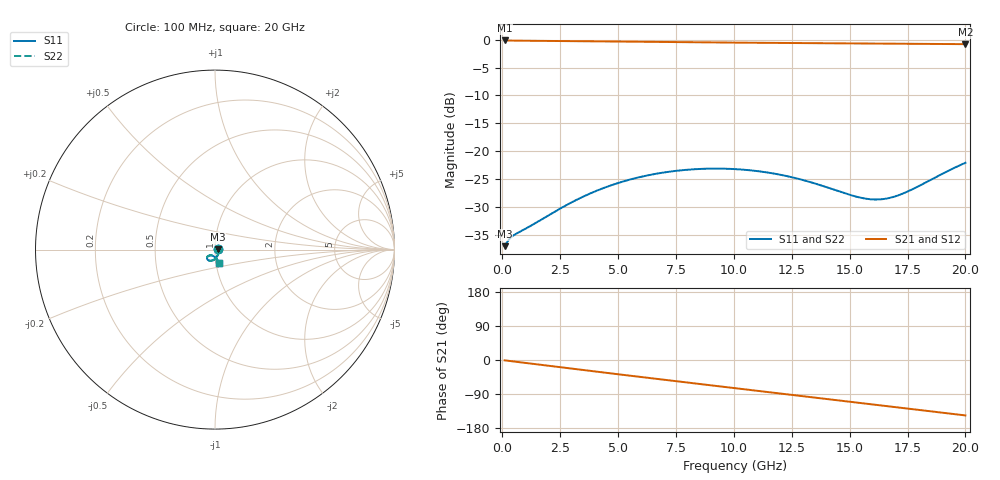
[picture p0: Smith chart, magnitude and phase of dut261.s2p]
! Touchstone file exported from HFSS 2026.1.0
!  File:  C:/ffzhzh/LocalFiles/Ansys_Project_Files/temp_train_TSV_RDL_261_1783069669_36532.aedt
!  Generated:  05:16:44 PM Jul  3, 2026
!  Design:  TSV_RDL
!  Project:  temp_train_TSV_RDL_261_1783069669_36532
! Variables:
!  h_bsmrdl = 3.77um
!  h_ox = 20um
!  h_rdl = 5um
!  h_sub = 65.58um
!  h_tmrdl = 5.43um
!  h_tsv = 65.58um
!  h_via = 3um
!  l_bsmrdl = 114.83um
!  l_sub = 2178.15um
!  l_tmrdl = 324.74um
!  m_sub = 200um
!  pitch = 27.59um
!  r_tsv = 2.53um
!  s_tmrdl = 10um
!  w_bsmrdl = 19.27um
!  w_sub = 500um
!  w_tmrdl = 25.63um
!  x_tsv_center1 = 337.555um
!  x_tsv_center2 = 471.655um
!  x_tsv_center3 = 822.025um
!  x_tsv_center4 = 956.125um
!  x_tsv_center5 = 1306.495um
!  x_tsv_center6 = 1440.595um
# GHz S MA R 50.000000
! Terminal data exported
! Port[1] = TM_RDL1_1_T1
! Port[2] = TM_RDL5_1_T1
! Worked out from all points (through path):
!   200 points, 100 MHz to 20 GHz, reference 50 ohm
!   highest |S21| = -0.12 dB at 100 MHz (marker M1); lowest = -0.8 dB at 20 GHz (marker M2)
!   group delay of S21, straight-line fit = 20.2 ps
!   lowest |S11| = -37.1 dB at 100 MHz (marker M3), VSWR 1.03, Z = 51.4 + j0.0699 ohm
!   |S11| at or under -10 dB: start of sweep to end of sweep
!   |S22| runs from -37.1 to -22.1 dB; largest |S21 - S12| = 7.6e-14
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0.1  0.01401 2.8  0.986 -0.9  0.986 -0.9  0.01401 2.8
! Gamma 0 0 0 0
! Port Impedance 50 0 50 0
0.3  0.01619 -1.0  0.9838 -2.4  0.9838 -2.4  0.01619 -1.0
0.5  0.01759 -8.6  0.9824 -4.0  0.9824 -4.0  0.01759 -8.6
2  0.02652 -48.8  0.9775 -15.3  0.9775 -15.3  0.02652 -48.8
3.5  0.03908 -72.0  0.9711 -26.5  0.9711 -26.5  0.03908 -72.0
4.3  0.046 -81.5  0.9674 -32.5  0.9674 -32.5  0.04599 -81.5
5.1  0.05248 -89.8  0.9637 -38.3  0.9637 -38.3  0.05247 -89.9
5.9  0.0582 -97.4  0.96 -44.2  0.96 -44.2  0.05818 -97.4
6.8  0.06344 -105.1  0.956 -50.8  0.956 -50.8  0.06342 -105.2
8.4  0.06896 -117.2  0.9492 -62.4  0.9492 -62.4  0.06894 -117.3
10.1  0.06884 -127.8  0.9427 -74.7  0.9427 -74.7  0.06881 -127.8
11  0.06623 -132.2  0.9395 -81.2  0.9395 -81.2  0.06619 -132.2
11.8  0.06252 -135.2  0.9369 -86.9  0.9369 -86.9  0.06247 -135.2
13.4  0.05199 -136.9  0.9321 -98.5  0.9321 -98.5  0.05192 -137.0
14.4  0.04451 -133.0  0.9293 -105.7  0.9293 -105.7  0.04443 -133.1
15.5  0.03806 -121.2  0.9264 -113.6  0.9264 -113.6  0.03795 -121.2
16.1  0.03676 -111.3  0.9248 -118.0  0.9248 -118.0  0.03663 -111.3
16.7  0.03787 -100.3  0.9232 -122.3  0.9232 -122.3  0.03774 -100.3
17.1  0.04005 -93.6  0.9221 -125.2  0.9221 -125.2  0.03993 -93.5
17.6  0.04429 -86.5  0.9208 -128.8  0.9208 -128.8  0.04417 -86.4
18.8  0.05946 -76.7  0.9173 -137.5  0.9173 -137.5  0.05937 -76.6
20  0.0786 -74.6  0.9136 -146.2  0.9136 -146.2  0.07853 -74.4
